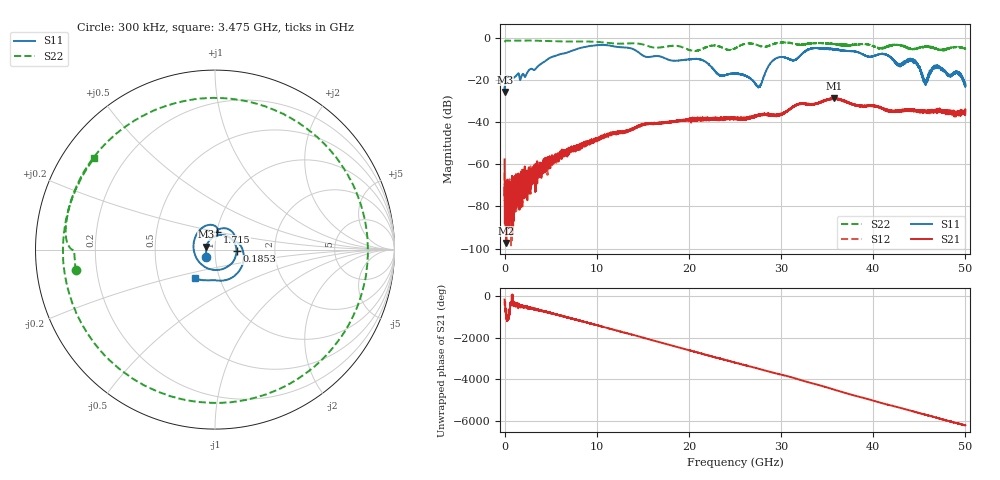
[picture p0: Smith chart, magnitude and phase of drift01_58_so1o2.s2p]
!Created with skrf (http://scikit-rf.org).
# Hz S RI R 50.0
!freq ReS11 ImS11 ReS21 ImS21 ReS12 ImS12 ReS22 ImS22
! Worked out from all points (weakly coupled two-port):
!   10001 points, 300 kHz to 50 GHz, reference 50 ohm
!   highest |S21| = -28.70 dB at 35.71 GHz (marker M1); lowest = -97.4 dB at 190.3 MHz (marker M2)
!   lowest |S11| = -25.8 dB at 5.3 MHz (marker M3), VSWR 1.11, Z = 45.3 + j1.43 ohm
!   |S11| at or under -10 dB: start of sweep to 4.763 GHz; 17.51 GHz to 29.37 GHz (11.86 GHz wide, 50.6 % of centre); 43.99 GHz to end of sweep (the widest 3 of 9)
!   |S22| runs from -6.4 to -1.4 dB; largest |S21 - S12| = 0.0035
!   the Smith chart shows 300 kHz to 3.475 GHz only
!   S11 on the Smith chart (normalised r, x): 300 kHz: 0.90, -0.08; 185.3 MHz: 1.27, -0.02; 1.715 GHz: 1.00, +0.20; 3.475 GHz: 0.77, -0.26
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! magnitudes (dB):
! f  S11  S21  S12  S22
! 300 kHz  -23.6  -57.7  -64.2  -2.1
! 5.3 MHz  -25.8  -73.3  -74.8  -2.1
! 185.3 MHz  -18.4  -91.3  -74.3  -1.4
! 190.3 MHz  -18.3  -97.4  -92.7  -1.4
! 770.3 MHz  -19.0  -81.7  -76.0  -1.5
! 1.715 GHz  -19.9  -70.3  -68.0  -1.4
! 3.475 GHz  -14.2  -64.7  -61.1  -1.5
! 8.335 GHz  -4.8  -51.6  -51.4  -1.8
! 16.67 GHz  -8.8  -40.5  -40.3  -4.8
! 21.2 GHz  -10.3  -38.3  -39.1  -5.8
! 25 GHz  -17.0  -38.3  -38.1  -5.0
! 27.6 GHz  -23.4  -36.6  -36.9  -3.8
! 29.28 GHz  -10.3  -36.8  -36.9  -2.9
! 31.48 GHz  -10.7  -32.3  -32.5  -2.9
! 33.34 GHz  -5.1  -31.8  -31.5  -2.7
! 35.71 GHz  -5.5  -28.7  -28.9  -3.1
! 41.67 GHz  -8.7  -34.8  -34.8  -3.8
! 42.82 GHz  -13.1  -34.8  -34.9  -3.5
! 44.42 GHz  -11.6  -33.8  -34.3  -5.4
! 45.63 GHz  -21.4  -34.9  -35.1  -4.3
! 46.96 GHz  -12.9  -34.8  -34.3  -5.4
! 50 GHz  -22.0  -34.4  -35.4  -5.2
